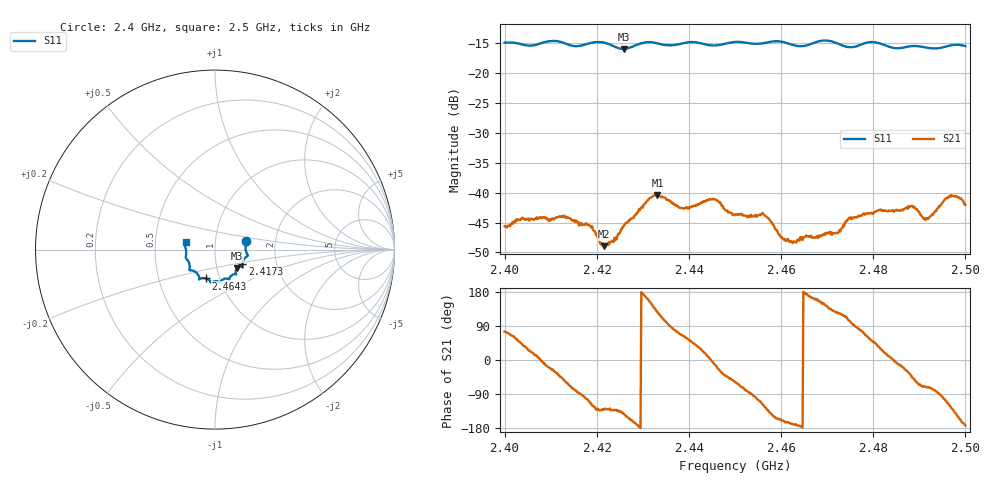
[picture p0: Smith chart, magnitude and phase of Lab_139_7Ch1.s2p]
# Hz S RI R 50
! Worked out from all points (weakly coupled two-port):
!   601 points, 2.4 GHz to 2.5 GHz, reference 50 ohm
!   highest |S21| = -40.41 dB at 2.4332 GHz (marker M1); lowest = -48.9 dB at 2.4215 GHz (marker M2)
!   lowest |S11| = -15.9 dB at 2.4258 GHz (marker M3), VSWR 1.38, Z = 62.3 - j13.3 ohm
!   |S11| at or under -10 dB: start of sweep to end of sweep
!   S12 and S22 are empty: the file has one direction only
!   S11 on the Smith chart (normalised r, x): 2.4 GHz: 1.41, +0.14; 2.4173 GHz: 1.34, -0.23; 2.4643 GHz: 0.86, -0.28; 2.5 GHz: 0.72, +0.06
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2.4e9  0.1736 0.049  0.00135 0.00506  0 0  0 0
2.412333e9  0.1784 -0.0375  0.00434 -0.00456  0 0  0 0
2.416667e9  0.1533 -0.0747  -0.000121 -0.00559  0 0  0 0
2.417333e9  0.1524 -0.0822  -0.000685 -0.00534  0 0  0 0
2.4215e9  0.1533 -0.0958  -0.00236 -0.00268  0 0  0 0
2.425833e9  0.1215 -0.1038  -0.00417 -0.00318  0 0  0 0
2.433167e9  0.1139 -0.1367  -0.00562 0.00771  0 0  0 0
2.433333e9  0.113 -0.1364  -0.00527 0.00777  0 0  0 0
2.438667e9  0.0815 -0.1582  0.00324 0.00666  0 0  0 0
2.445667e9  0.05 -0.1633  0.00859 -0.00197  0 0  0 0
2.45e9  0.0294 -0.1806  0.00353 -0.00555  0 0  0 0
2.456167e9  -0.00741 -0.1783  -0.00318 -0.00578  0 0  0 0
2.4605e9  -0.0247 -0.1811  -0.00387 -0.00137  0 0  0 0
2.464333e9  -0.05 -0.1606  -0.00409 -0.000302  0 0  0 0
2.466667e9  -0.0761 -0.1596  -0.00406 0.00113  0 0  0 0
2.472333e9  -0.0886 -0.1534  -0.00259 0.0038  0 0  0 0
2.475e9  -0.1062 -0.1263  -0.00124 0.00607  0 0  0 0
2.483333e9  -0.1409 -0.0902  0.00696 0.00128  0 0  0 0
2.4885e9  -0.1616 -0.048  0.0053 -0.00567  0 0  0 0
2.4915e9  -0.1613 -0.0302  0.00198 -0.0058  0 0  0 0
2.496333e9  -0.1681 0.0216  -0.00408 -0.00834  0 0  0 0
2.5e9  -0.1636 0.0417  -0.00787 -0.001  0 0  0 0
